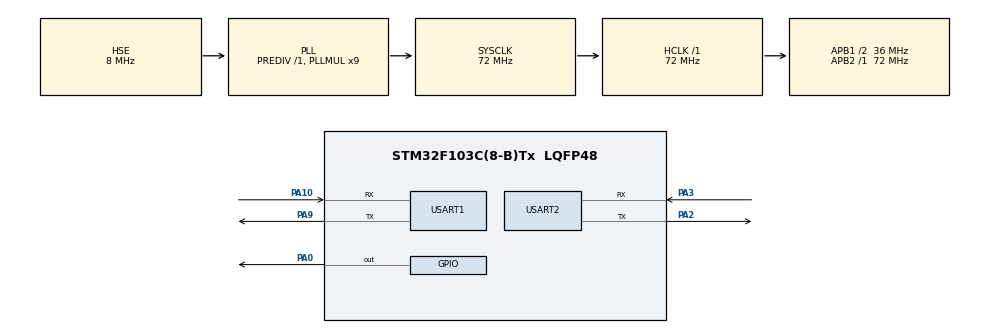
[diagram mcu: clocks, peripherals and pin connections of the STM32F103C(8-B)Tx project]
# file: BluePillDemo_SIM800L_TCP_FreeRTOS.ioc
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Dma.Request0=USART1_RX
Dma.Request1=USART1_TX
Dma.USART1_RX.0.Direction=DMA_PERIPH_TO_MEMORY
Dma.USART1_RX.0.Instance=DMA1_Channel5
Dma.USART1_RX.0.MemDataAlignment=DMA_MDATAALIGN_BYTE
Dma.USART1_RX.0.MemInc=DMA_MINC_ENABLE
Dma.USART1_RX.0.Mode=DMA_CIRCULAR
Dma.USART1_RX.0.PeriphDataAlignment=DMA_PDATAALIGN_BYTE
Dma.USART1_RX.0.PeriphInc=DMA_PINC_DISABLE
Dma.USART1_RX.0.Priority=DMA_PRIORITY_VERY_HIGH
Dma.USART1_TX.1.Direction=DMA_MEMORY_TO_PERIPH
Dma.USART1_TX.1.Instance=DMA1_Channel4
Dma.USART1_TX.1.MemDataAlignment=DMA_MDATAALIGN_BYTE
Dma.USART1_TX.1.MemInc=DMA_MINC_ENABLE
Dma.USART1_TX.1.Mode=DMA_NORMAL
Dma.USART1_TX.1.PeriphDataAlignment=DMA_PDATAALIGN_BYTE
Dma.USART1_TX.1.PeriphInc=DMA_PINC_DISABLE
Dma.USART1_TX.1.Priority=DMA_PRIORITY_VERY_HIGH
FREERTOS.Mutexes01=modemMutex,Static,modemMutexControlBlock
FREERTOS.Queues01=commandQueue,1,AtCommandPacket_t,0,Static,commandQueueBuffer,commandQueueControlBlock;responseQueue,1,AtResponsePacket_t,0,Static,responseQueueBuffer,responseQueueControlBlock
FREERTOS.Tasks01=main,24,250,mainTask,Default,NULL,Static,mainBuffer,mainControlBlock;modem,8,350,modemTask,Default,NULL,Static,modemBuffer,modemControlBlock
FREERTOS.configCHECK_FOR_STACK_OVERFLOW=2
FREERTOS.configRECORD_STACK_HIGH_ADDRESS=1
Mcu.Family=STM32F1
Mcu.Name=STM32F103C(8-B)Tx
Mcu.Package=LQFP48
NVIC.DMA1_Channel4_IRQn=true\:5\:0\:false\:false\:true\:true\:false\:true
NVIC.DMA1_Channel5_IRQn=true\:5\:0\:false\:false\:true\:true\:false\:true
NVIC.PriorityGroup=NVIC_PRIORITYGROUP_4
NVIC.TIM1_UP_IRQn=true\:0\:0\:false\:false\:true\:false\:false\:true
NVIC.TimeBase=TIM1_UP_IRQn
NVIC.TimeBaseIP=TIM1
NVIC.USART1_IRQn=true\:5\:0\:false\:false\:true\:true\:true\:true
PA0-WKUP.Signal=GPIO_Output
PA10.Mode=Asynchronous
PA10.Signal=USART1_RX
PA13.Mode=Serial_Wire
PA13.Signal=SYS_JTMS-SWDIO
PA14.Mode=Serial_Wire
PA14.Signal=SYS_JTCK-SWCLK
PA2.Mode=Asynchronous
PA2.Signal=USART2_TX
PA3.Mode=Asynchronous
PA3.Signal=USART2_RX
PA9.Mode=Asynchronous
PA9.Signal=USART1_TX
PC14-OSC32_IN.Mode=LSE-External-Oscillator
PC14-OSC32_IN.Signal=RCC_OSC32_IN
PC15-OSC32_OUT.Mode=LSE-External-Oscillator
PC15-OSC32_OUT.Signal=RCC_OSC32_OUT
PD0-OSC_IN.Mode=HSE-External-Oscillator
PD0-OSC_IN.Signal=RCC_OSC_IN
PD1-OSC_OUT.Mode=HSE-External-Oscillator
PD1-OSC_OUT.Signal=RCC_OSC_OUT
ProjectManager.HeapSize=0x200
ProjectManager.StackSize=0x400
ProjectManager.TargetToolchain=STM32CubeIDE
RCC.AHBFreq_Value=72000000
RCC.APB1CLKDivider=RCC_HCLK_DIV2
RCC.APB1Freq_Value=36000000
RCC.APB1TimFreq_Value=72000000
RCC.APB2Freq_Value=72000000
RCC.APB2TimFreq_Value=72000000
RCC.HCLKFreq_Value=72000000
RCC.PLLMUL=RCC_PLL_MUL9
RCC.PLLSourceVirtual=RCC_PLLSOURCE_HSE
RCC.SYSCLKFreq_VALUE=72000000
RCC.SYSCLKSource=RCC_SYSCLKSOURCE_PLLCLK
RCC.USBFreq_Value=72000000
USART1.VirtualMode=VM_ASYNC
USART2.VirtualMode=VM_ASYNC
VP_FREERTOS_VS_CMSIS_V2.Mode=CMSIS_V2
VP_SYS_VS_tim1.Mode=TIM1
board=custom

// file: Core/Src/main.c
/* USER CODE BEGIN Header */
/**
  ******************************************************************************
  * @file           : main.c
  * @brief          : Main program body
  ******************************************************************************
  * @attention
  *
  * <h2><center>&copy; Copyright (c) 2020 STMicroelectronics.
  * All rights reserved.</center></h2>
  *
  * This software component is licensed by ST under BSD 3-Clause license,
  * the "License"; You may not use this file except in compliance with the
  * License. You may obtain a copy of the License at:
  *                        opensource.org/licenses/BSD-3-Clause
  *
  ******************************************************************************
  */
/* USER CODE END Header */

#include "main.h"
#include "cmsis_os.h"

/* USER CODE BEGIN Includes */
#include <string.h>
#include "task.h"
#include "modem.h"
#include "buffered_serial.h"

/* USER CODE END Includes */

UART_HandleTypeDef huart1;
UART_HandleTypeDef huart2;
DMA_HandleTypeDef hdma_usart1_rx;
DMA_HandleTypeDef hdma_usart1_tx;

typedef StaticTask_t osStaticThreadDef_t;
typedef StaticQueue_t osStaticMessageQDef_t;
typedef StaticSemaphore_t osStaticMutexDef_t;
osThreadId_t mainHandle;
uint32_t mainBuffer[ 250 ];
osStaticThreadDef_t mainControlBlock;
osThreadId_t modemHandle;
uint32_t modemBuffer[ 350 ];
osStaticThreadDef_t modemControlBlock;
osMessageQueueId_t commandQueueHandle;
uint8_t commandQueueBuffer[ 1 * sizeof( AtCommandPacket_t ) ];
osStaticMessageQDef_t commandQueueControlBlock;
osMessageQueueId_t responseQueueHandle;
uint8_t responseQueueBuffer[ 1 * sizeof( AtResponsePacket_t ) ];
osStaticMessageQDef_t responseQueueControlBlock;
osMutexId_t modemMutexHandle;
osStaticMutexDef_t modemMutexControlBlock;
/* USER CODE BEGIN PV */
osEventFlagsId_t modemTaskStartedEventHandle;

/* USER CODE END PV */

void SystemClock_Config(void);
static void MX_GPIO_Init(void);
static void MX_DMA_Init(void);
static void MX_USART1_UART_Init(void);
static void MX_USART2_UART_Init(void);
void mainTask(void *argument);
void modemTask(void *argument);

/* USER CODE BEGIN PFP */
void DebugPrint(const char *text);
void ModemDebugPrintStatus(const char *text, ModemStatus_t modemStatus);

/* USER CODE END PFP */

/* USER CODE BEGIN 0 */

void DebugPrint(const char *text)
{
  HAL_UART_Transmit(&huart2, (uint8_t *)text, strlen(text), 100U);
}

void ModemDebugPrintStatus(const char *text, ModemStatus_t modemStatus)
{
  DebugPrint(text);
  DebugPrint(": ");
  DebugPrint(ModemStatusToText(modemStatus));
  DebugPrint("\r\n");
}

/* USER CODE END 0 */

int main(void)
{

  /* MCU Configuration--------------------------------------------------------*/

  /* Reset of all peripherals, Initializes the Flash interface and the Systick. */
  HAL_Init();

  /* Configure the system clock */
  SystemClock_Config();

  /* Initialize all configured peripherals */
  MX_GPIO_Init();
  MX_DMA_Init();
  MX_USART1_UART_Init();
  MX_USART2_UART_Init();
  /* USER CODE BEGIN 2 */
  serial_init();
  HAL_UART_Transmit(&huart2, (uint8_t *)"TCP Test\r\n", 10U, 100UL);

  /* USER CODE END 2 */

  osKernelInitialize();

  /* Create the mutex(es) */
  /* definition and creation of modemMutex */
  const osMutexAttr_t modemMutex_attributes = {
    .name = "modemMutex",
    .cb_mem = &modemMutexControlBlock,
    .cb_size = sizeof(modemMutexControlBlock),
  };
  modemMutexHandle = osMutexNew(&modemMutex_attributes);

  /* USER CODE BEGIN RTOS_SEMAPHORES */
  /* add semaphores, ... */
  modemTaskStartedEventHandle = osEventFlagsNew(NULL);

  /* USER CODE END RTOS_SEMAPHORES */

  /* Create the queue(s) */
  /* definition and creation of commandQueue */
  const osMessageQueueAttr_t commandQueue_attributes = {
    .name = "commandQueue",
    .cb_mem = &commandQueueControlBlock,
    .cb_size = sizeof(commandQueueControlBlock),
    .mq_mem = &commandQueueBuffer,
    .mq_size = sizeof(commandQueueBuffer)
  };
  commandQueueHandle = osMessageQueueNew (1, sizeof(AtCommandPacket_t), &commandQueue_attributes);

  /* definition and creation of responseQueue */
  const osMessageQueueAttr_t responseQueue_attributes = {
    .name = "responseQueue",
    .cb_mem = &responseQueueControlBlock,
    .cb_size = sizeof(responseQueueControlBlock),
    .mq_mem = &responseQueueBuffer,
    .mq_size = sizeof(responseQueueBuffer)
  };
  responseQueueHandle = osMessageQueueNew (1, sizeof(AtResponsePacket_t), &responseQueue_attributes);

  /* Create the thread(s) */
  /* definition and creation of main */
  const osThreadAttr_t main_attributes = {
    .name = "main",
    .stack_mem = &mainBuffer[0],
    .stack_size = sizeof(mainBuffer),
    .cb_mem = &mainControlBlock,
    .cb_size = sizeof(mainControlBlock),
    .priority = (osPriority_t) osPriorityNormal,
  };
  mainHandle = osThreadNew(mainTask, NULL, &main_attributes);

  /* definition and creation of modem */
  const osThreadAttr_t modem_attributes = {
    .name = "modem",
    .stack_mem = &modemBuffer[0],
    .stack_size = sizeof(modemBuffer),
    .cb_mem = &modemControlBlock,
    .cb_size = sizeof(modemControlBlock),
    .priority = (osPriority_t) osPriorityLow,
  };
  modemHandle = osThreadNew(modemTask, NULL, &modem_attributes);

  /* Start scheduler */
  osKernelStart();

  /* We should never get here as control is now taken by the scheduler */

  /* Infinite loop */
  while (1)
  {

  }
}

void SystemClock_Config(void)
{
  RCC_OscInitTypeDef RCC_OscInitStruct = {0};
  RCC_ClkInitTypeDef RCC_ClkInitStruct = {0};

  /** Initializes the CPU, AHB and APB busses clocks
  */
  RCC_OscInitStruct.OscillatorType = RCC_OSCILLATORTYPE_HSE;
  RCC_OscInitStruct.HSEState = RCC_HSE_ON;
  RCC_OscInitStruct.HSEPredivValue = RCC_HSE_PREDIV_DIV1;
  RCC_OscInitStruct.HSIState = RCC_HSI_ON;
  RCC_OscInitStruct.PLL.PLLState = RCC_PLL_ON;
  RCC_OscInitStruct.PLL.PLLSource = RCC_PLLSOURCE_HSE;
  RCC_OscInitStruct.PLL.PLLMUL = RCC_PLL_MUL9;
  if (HAL_RCC_OscConfig(&RCC_OscInitStruct) != HAL_OK)
  {
    Error_Handler();
  }
  /** Initializes the CPU, AHB and APB busses clocks
  */
  RCC_ClkInitStruct.ClockType = RCC_CLOCKTYPE_HCLK|RCC_CLOCKTYPE_SYSCLK
                              |RCC_CLOCKTYPE_PCLK1|RCC_CLOCKTYPE_PCLK2;
  RCC_ClkInitStruct.SYSCLKSource = RCC_SYSCLKSOURCE_PLLCLK;
  RCC_ClkInitStruct.AHBCLKDivider = RCC_SYSCLK_DIV1;
  RCC_ClkInitStruct.APB1CLKDivider = RCC_HCLK_DIV2;
  RCC_ClkInitStruct.APB2CLKDivider = RCC_HCLK_DIV1;

  if (HAL_RCC_ClockConfig(&RCC_ClkInitStruct, FLASH_LATENCY_2) != HAL_OK)
  {
    Error_Handler();
  }
}

static void MX_USART1_UART_Init(void)
{

  huart1.Instance = USART1;
  huart1.Init.BaudRate = 115200;
  huart1.Init.WordLength = UART_WORDLENGTH_8B;
  huart1.Init.StopBits = UART_STOPBITS_1;
  huart1.Init.Parity = UART_PARITY_NONE;
  huart1.Init.Mode = UART_MODE_TX_RX;
  huart1.Init.HwFlowCtl = UART_HWCONTROL_NONE;
  huart1.Init.OverSampling = UART_OVERSAMPLING_16;
  if (HAL_UART_Init(&huart1) != HAL_OK)
  {
    Error_Handler();
  }

}

static void MX_USART2_UART_Init(void)
{

  huart2.Instance = USART2;
  huart2.Init.BaudRate = 115200;
  huart2.Init.WordLength = UART_WORDLENGTH_8B;
  huart2.Init.StopBits = UART_STOPBITS_1;
  huart2.Init.Parity = UART_PARITY_NONE;
  huart2.Init.Mode = UART_MODE_TX_RX;
  huart2.Init.HwFlowCtl = UART_HWCONTROL_NONE;
  huart2.Init.OverSampling = UART_OVERSAMPLING_16;
  if (HAL_UART_Init(&huart2) != HAL_OK)
  {
    Error_Handler();
  }

}

static void MX_DMA_Init(void)
{

  /* DMA controller clock enable */
  __HAL_RCC_DMA1_CLK_ENABLE();

  /* DMA interrupt init */
  /* DMA1_Channel4_IRQn interrupt configuration */
  HAL_NVIC_SetPriority(DMA1_Channel4_IRQn, 5, 0);
  HAL_NVIC_EnableIRQ(DMA1_Channel4_IRQn);
  /* DMA1_Channel5_IRQn interrupt configuration */
  HAL_NVIC_SetPriority(DMA1_Channel5_IRQn, 5, 0);
  HAL_NVIC_EnableIRQ(DMA1_Channel5_IRQn);

}

static void MX_GPIO_Init(void)
{
  GPIO_InitTypeDef GPIO_InitStruct = {0};

  /* GPIO Ports Clock Enable */
  __HAL_RCC_GPIOC_CLK_ENABLE();
  __HAL_RCC_GPIOD_CLK_ENABLE();
  __HAL_RCC_GPIOA_CLK_ENABLE();

  /*Configure GPIO pin Output Level */
  HAL_GPIO_WritePin(GPIOA, GPIO_PIN_0, GPIO_PIN_RESET);

  /*Configure GPIO pin : PA0 */
  GPIO_InitStruct.Pin = GPIO_PIN_0;
  GPIO_InitStruct.Mode = GPIO_MODE_OUTPUT_PP;
  GPIO_InitStruct.Pull = GPIO_NOPULL;
  GPIO_InitStruct.Speed = GPIO_SPEED_FREQ_LOW;
  HAL_GPIO_Init(GPIOA, &GPIO_InitStruct);

}

void mainTask(void *argument)
{
  /* USER CODE BEGIN 5 */

  // wait for modem task to start
  osEventFlagsWait(modemTaskStartedEventHandle, 0x00000001UL, osFlagsWaitAny, osWaitForever);

  DebugPrint("Modem task started\r\n");

  ModemStatus_t modemStatus;
  bool registrationStatus;
  uint8_t signalStrength;
  char ipAddress[MODEM_MAX_IP_ADDRESS_LENGTH];

  DebugPrint("1 Testing connection to modem\r\n");
  modemStatus = ModemHello(250UL);
  ModemDebugPrintStatus("->1 Hello", modemStatus);

  DebugPrint("2 Registering on network\r\n");
  do
  {
    modemStatus = ModemGetNetworkRegistrationStatus(&registrationStatus, 250UL);
	osDelay(1000UL);
  } while (!registrationStatus);
  ModemDebugPrintStatus("->2 Register on network", modemStatus);

  DebugPrint("3 Getting signal strength\r\n");
  modemStatus = ModemGetSignalStrength(&signalStrength, 250UL);
  ModemDebugPrintStatus("->3 Get signal strength", modemStatus);

  DebugPrint("4 Setting manual data read\r\n");
  modemStatus = ModemSetManualDataRead(250UL);
  ModemDebugPrintStatus("->4 Set manual read", modemStatus);

  DebugPrint("5 Configuring data connection\r\n");
  modemStatus = ModemConfigureDataConnection("everywhere", "eesecure", "secure", 200UL);
  ModemDebugPrintStatus("->5 Configure data connection", modemStatus);

  DebugPrint("6 Activating data connection\r\n");
  modemStatus = ModemActivateDataConnection(10000UL);
  ModemDebugPrintStatus("->6 Activate data connection", modemStatus);

  DebugPrint("7 Getting own IP address\r\n");
  modemStatus = ModemGetOwnIpAddress(ipAddress, MODEM_MAX_IP_ADDRESS_LENGTH, 250UL);
  ModemDebugPrintStatus("->7 Get own IP address", modemStatus);

  uint32_t tcpReadDataWaitingLength;
  uint8_t *readData;
  uint32_t lengthRead;

  modemStatus = ModemOpenTcpConnection("exploreembedded.com", 80U, 5000UL);
  ModemDebugPrintStatus("Open TCP connection", modemStatus);

  modemStatus = ModemTcpWrite((uint8_t *)"GET /wiki/images/1/15/Hello.txt HTTP/1.1\r\n", 42U, 1000UL);
  ModemDebugPrintStatus("TCP write", modemStatus);

  modemStatus = ModemTcpWrite((uint8_t *)"Host: exploreembedded.com\r\n\r\n", 29U, 1000UL);
  ModemDebugPrintStatus("TCP write", modemStatus);

  while (true)
  {
	  modemStatus = ModemGetTcpReadDataWaitingLength(&tcpReadDataWaitingLength, 250UL);
	  if (tcpReadDataWaitingLength > 0UL)
	  {
		  break;
	  }
	  osDelay(500UL);
  }
  ModemDebugPrintStatus("TCP response arrived", modemStatus);

  modemStatus = ModemGetTcpReadDataWaitingLength(&tcpReadDataWaitingLength, 250UL);
  ModemDebugPrintStatus("Read TCP waiting length", modemStatus);

  readData = pvPortMalloc(tcpReadDataWaitingLength);
  if (!readData)
  {
	  DebugPrint("Could not allocate memory\r\n");
  }
  else
  {
	  ModemTcpRead(tcpReadDataWaitingLength, &lengthRead, readData, 3000UL);
	  ModemDebugPrintStatus("Read TCP data", modemStatus);

	  HAL_UART_Transmit(&huart2, readData, lengthRead, 2000UL);
	  DebugPrint("\r\n");
	  vPortFree(readData);
  }

  // close the socket
  modemStatus = ModemCloseTcpConnection(200UL);
  ModemDebugPrintStatus("Close TCP connection", modemStatus);

  // shut down data connection
  DebugPrint("19 Deactivating data connection\r\n");
  modemStatus = ModemDeactivateDataConnection(10000UL);
  ModemDebugPrintStatus("->19 Deactivate data connection", modemStatus);

  // power down modem
  DebugPrint("20 Power down modem");
  modemStatus = ModemPowerDown(10000UL);
  ModemDebugPrintStatus("->20 Power down modem", modemStatus);

  (void)modemStatus;

  /* Infinite loop */
  for(;;)
  {
    osDelay(100UL);
  }
  /* USER CODE END 5 */
}

void modemTask(void *argument)
{
  /* USER CODE BEGIN modemTask */
  ModemReset();
  ModemInit();

  // signal main task that this thread has started
  osEventFlagsSet(modemTaskStartedEventHandle, 0x00000001U);

  /* Infinite loop */
  DoModemTask();

  for(;;)
  {
    osDelay(1);
  }
  /* USER CODE END modemTask */
}

void HAL_TIM_PeriodElapsedCallback(TIM_HandleTypeDef *htim)
{
  if (htim->Instance == TIM1) {
    HAL_IncTick();
  }
}

void Error_Handler(void)
{
}

/************************ (C) COPYRIGHT STMicroelectronics *****END OF FILE****/
